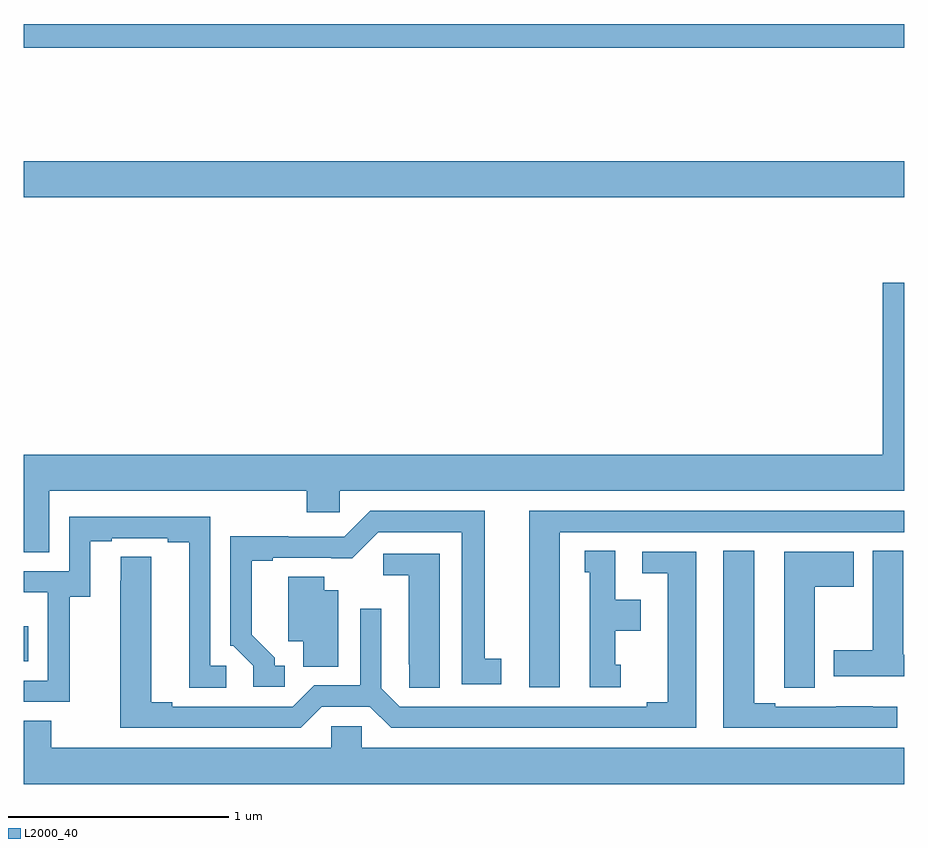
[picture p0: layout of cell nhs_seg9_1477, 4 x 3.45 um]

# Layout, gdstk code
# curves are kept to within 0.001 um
import gdstk
lib = gdstk.Library(unit=1e-6, precision=1e-09)
def R(c, l, rs):  # rectangles x0, y0, x1, y1
    for r in rs: c.add(gdstk.rectangle(r[:2], r[2:], *l))
def P(c, l, *ps):  # polygons
    for p in ps: c.add(gdstk.Polygon(p, *l))
L2000_40 = (2000, 40)

nhs_seg9_1477 = lib.new_cell('nhs_seg9_1477')
R(nhs_seg9_1477, L2000_40, [(193,1235.606,193.021,1235.764), (193,1237.712,197,1237.876), (193,1238.392,197,1238.5)])
P(nhs_seg9_1477, L2000_40, [(193.117,1236.38),(194.285,1236.38),(194.285,1236.282),(194.436,1236.282),(194.436,1236.38),(197,1236.38),(197,1237.324),(196.901,1237.324),(196.901,1236.544),(193,1236.544),(193,1236.1),(193.117,1236.1)],
  [(195.436,1236.192),(197,1236.192),(197,1236.288),(195.296,1236.288),(195.296,1235.487),(195.436,1235.487)],
  [(194.185,1235.586),(194.14,1235.586),(194.14,1235.621),(194.035,1235.726),(194.035,1236.063),(194.131,1236.063),(194.131,1236.075),(194.492,1236.074),(194.61,1236.192),(194.99,1236.192),(194.99,1235.502),(195.169,1235.502),(195.169,1235.618),(195.094,1235.618),(195.094,1236.288),(194.574,1236.288),(194.457,1236.171),(194.201,1236.171),(194.201,1236.173),(193.938,1236.173),(193.938,1235.676),(193.953,1235.676),(194.043,1235.586),(194.043,1235.49),(194.185,1235.49)],
  [(193.209,1235.899),(193.303,1235.899),(193.303,1236.15),(193.399,1236.15),(193.399,1236.165),(193.655,1236.165),(193.655,1236.145),(193.751,1236.145),(193.751,1235.485),(193.921,1235.485),(193.921,1235.586),(193.848,1235.586),(193.848,1236.261),(193.206,1236.261),(193.206,1236.015),(193,1236.015),(193,1235.919),(193.109,1235.919),(193.109,1235.918),(193.11,1235.918),(193.11,1235.517),(193,1235.517),(193,1235.421),(193.209,1235.421)],
  [(195.712,1235.589),(195.688,1235.589),(195.688,1235.744),(195.802,1235.744),(195.802,1235.884),(195.688,1235.884),(195.688,1236.107),(195.548,1236.107),(195.548,1236.009),(195.572,1236.009),(195.572,1235.487),(195.712,1235.487)],
  [(197,1235.634),(196.996,1235.634),(196.996,1235.996),(196.995,1235.996),(196.995,1236.107),(196.856,1236.107),(196.856,1235.655),(196.679,1235.655),(196.679,1235.538),(197,1235.538)],
  [(196.969,1235.4),(196.856,1235.4),(196.856,1235.401),(196.69,1235.401),(196.69,1235.4),(196.414,1235.4),(196.414,1235.415),(196.318,1235.415),(196.318,1236.107),(196.178,1236.107),(196.178,1235.304),(196.969,1235.304)],
  [(196.594,1235.944),(196.771,1235.944),(196.771,1236.103),(196.454,1236.103),(196.454,1235.593),(196.455,1235.593),(196.455,1235.485),(196.594,1235.485)],
  [(194.355,1235.4),(194.573,1235.4),(194.669,1235.304),(196.054,1235.304),(196.054,1236.102),(195.81,1236.102),(195.81,1236.006),(195.926,1236.006),(195.926,1235.42),(195.83,1235.42),(195.83,1235.4),(194.709,1235.4),(194.625,1235.484),(194.625,1235.845),(194.529,1235.845),(194.529,1235.496),(194.319,1235.496),(194.223,1235.4),(193.675,1235.4),(193.675,1235.42),(193.579,1235.42),(193.579,1236.08),(193.44,1236.08),(193.439,1235.304),(194.259,1235.304)],
  [(194.89,1236.093),(194.634,1236.093),(194.634,1235.996),(194.75,1235.996),(194.75,1235.593),(194.751,1235.593),(194.751,1235.485),(194.89,1235.485)],
  [(194.428,1235.929),(194.365,1235.929),(194.365,1235.99),(194.201,1235.99),(194.201,1235.696),(194.27,1235.696),(194.27,1235.581),(194.428,1235.581)],
  [(197,1235.212),(194.535,1235.212),(194.535,1235.31),(194.397,1235.31),(194.397,1235.212),(193.125,1235.212),(193.125,1235.336),(193,1235.336),(193,1235.048),(197,1235.048)])

lib.write_gds('nhs_seg9_1477.gds')
